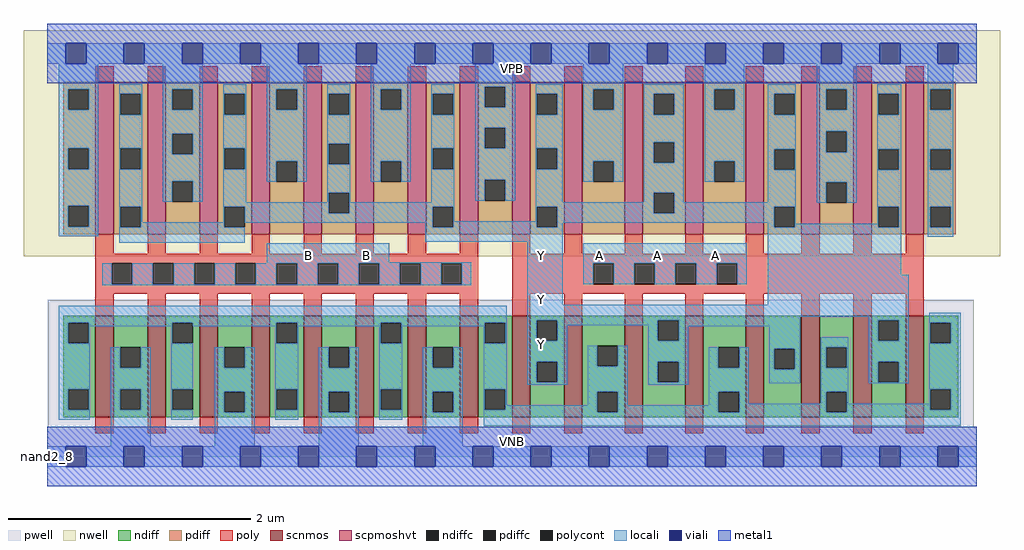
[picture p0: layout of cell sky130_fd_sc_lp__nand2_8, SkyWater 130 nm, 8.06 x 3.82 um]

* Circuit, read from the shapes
.subckt sky130_fd_sc_lp__nand2_8 A B VGND VNB VPB VPWR Y
XM1 VGND B n1 VNB sky130_fd_pr__nfet_01v8 w=0.84 l=0.15 m=8
XM2 Y A n1 VNB sky130_fd_pr__nfet_01v8 w=0.84 l=0.15 m=8
XM3 Y B VPWR VPB sky130_fd_pr__pfet_01v8_hvt w=1.26 l=0.15 m=8
XM4 Y A VPWR VPB sky130_fd_pr__pfet_01v8_hvt w=1.26 l=0.15 m=8
.ends

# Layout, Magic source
magic
tech sky130A
magscale 1 2
<< nwell >>
rect -38 331 1574 704
<< pwell >>
rect 1 49 1531 259
rect 0 0 1536 49
<< scnmos >>
rect 80 65 110 233
rect 166 65 196 233
rect 252 65 282 233
rect 338 65 368 233
rect 424 65 454 233
rect 510 65 540 233
rect 596 65 626 233
rect 682 65 712 233
rect 768 65 798 233
rect 854 65 884 233
rect 954 65 984 233
rect 1054 65 1084 233
rect 1154 65 1184 233
rect 1246 65 1276 233
rect 1332 65 1362 233
rect 1418 65 1448 233
<< scpmoshvt >>
rect 80 367 110 619
rect 166 367 196 619
rect 252 367 282 619
rect 338 367 368 619
rect 424 367 454 619
rect 510 367 540 619
rect 596 367 626 619
rect 682 367 712 619
rect 768 367 798 619
rect 854 367 884 619
rect 954 367 984 619
rect 1054 367 1084 619
rect 1154 367 1184 619
rect 1246 367 1276 619
rect 1332 367 1362 619
rect 1418 367 1448 619
<< ndiff >>
rect 27 221 80 233
rect 27 187 35 221
rect 69 187 80 221
rect 27 111 80 187
rect 27 77 35 111
rect 69 77 80 111
rect 27 65 80 77
rect 110 181 166 233
rect 110 147 121 181
rect 155 147 166 181
rect 110 111 166 147
rect 110 77 121 111
rect 155 77 166 111
rect 110 65 166 77
rect 196 221 252 233
rect 196 187 207 221
rect 241 187 252 221
rect 196 111 252 187
rect 196 77 207 111
rect 241 77 252 111
rect 196 65 252 77
rect 282 181 338 233
rect 282 147 293 181
rect 327 147 338 181
rect 282 107 338 147
rect 282 73 293 107
rect 327 73 338 107
rect 282 65 338 73
rect 368 221 424 233
rect 368 187 379 221
rect 413 187 424 221
rect 368 111 424 187
rect 368 77 379 111
rect 413 77 424 111
rect 368 65 424 77
rect 454 181 510 233
rect 454 147 465 181
rect 499 147 510 181
rect 454 107 510 147
rect 454 73 465 107
rect 499 73 510 107
rect 454 65 510 73
rect 540 221 596 233
rect 540 187 551 221
rect 585 187 596 221
rect 540 111 596 187
rect 540 77 551 111
rect 585 77 596 111
rect 540 65 596 77
rect 626 181 682 233
rect 626 147 637 181
rect 671 147 682 181
rect 626 107 682 147
rect 626 73 637 107
rect 671 73 682 107
rect 626 65 682 73
rect 712 221 768 233
rect 712 187 723 221
rect 757 187 768 221
rect 712 111 768 187
rect 712 77 723 111
rect 757 77 768 111
rect 712 65 768 77
rect 798 225 854 233
rect 798 191 809 225
rect 843 191 854 225
rect 798 157 854 191
rect 798 123 809 157
rect 843 123 854 157
rect 798 65 854 123
rect 884 183 954 233
rect 884 149 909 183
rect 943 149 954 183
rect 884 107 954 149
rect 884 73 909 107
rect 943 73 954 107
rect 884 65 954 73
rect 984 225 1054 233
rect 984 191 1009 225
rect 1043 191 1054 225
rect 984 157 1054 191
rect 984 123 1009 157
rect 1043 123 1054 157
rect 984 65 1054 123
rect 1084 181 1154 233
rect 1084 147 1109 181
rect 1143 147 1154 181
rect 1084 107 1154 147
rect 1084 73 1109 107
rect 1143 73 1154 107
rect 1084 65 1154 73
rect 1184 178 1246 233
rect 1184 144 1201 178
rect 1235 144 1246 178
rect 1184 65 1246 144
rect 1276 181 1332 233
rect 1276 147 1287 181
rect 1321 147 1332 181
rect 1276 107 1332 147
rect 1276 73 1287 107
rect 1321 73 1332 107
rect 1276 65 1332 73
rect 1362 225 1418 233
rect 1362 191 1373 225
rect 1407 191 1418 225
rect 1362 157 1418 191
rect 1362 123 1373 157
rect 1407 123 1418 157
rect 1362 65 1418 123
rect 1448 221 1505 233
rect 1448 187 1459 221
rect 1493 187 1505 221
rect 1448 111 1505 187
rect 1448 77 1459 111
rect 1493 77 1505 111
rect 1448 65 1505 77
<< pdiff >>
rect 27 607 80 619
rect 27 573 35 607
rect 69 573 80 607
rect 27 509 80 573
rect 27 475 35 509
rect 69 475 80 509
rect 27 414 80 475
rect 27 380 35 414
rect 69 380 80 414
rect 27 367 80 380
rect 110 599 166 619
rect 110 565 121 599
rect 155 565 166 599
rect 110 509 166 565
rect 110 475 121 509
rect 155 475 166 509
rect 110 413 166 475
rect 110 379 121 413
rect 155 379 166 413
rect 110 367 166 379
rect 196 607 252 619
rect 196 573 207 607
rect 241 573 252 607
rect 196 533 252 573
rect 196 499 207 533
rect 241 499 252 533
rect 196 455 252 499
rect 196 421 207 455
rect 241 421 252 455
rect 196 367 252 421
rect 282 599 338 619
rect 282 565 293 599
rect 327 565 338 599
rect 282 509 338 565
rect 282 475 293 509
rect 327 475 338 509
rect 282 413 338 475
rect 282 379 293 413
rect 327 379 338 413
rect 282 367 338 379
rect 368 607 424 619
rect 368 573 379 607
rect 413 573 424 607
rect 368 488 424 573
rect 368 454 379 488
rect 413 454 424 488
rect 368 367 424 454
rect 454 599 510 619
rect 454 565 465 599
rect 499 565 510 599
rect 454 517 510 565
rect 454 483 465 517
rect 499 483 510 517
rect 454 436 510 483
rect 454 402 465 436
rect 499 402 510 436
rect 454 367 510 402
rect 540 607 596 619
rect 540 573 551 607
rect 585 573 596 607
rect 540 488 596 573
rect 540 454 551 488
rect 585 454 596 488
rect 540 367 596 454
rect 626 599 682 619
rect 626 565 637 599
rect 671 565 682 599
rect 626 509 682 565
rect 626 475 637 509
rect 671 475 682 509
rect 626 413 682 475
rect 626 379 637 413
rect 671 379 682 413
rect 626 367 682 379
rect 712 611 768 619
rect 712 577 723 611
rect 757 577 768 611
rect 712 543 768 577
rect 712 509 723 543
rect 757 509 768 543
rect 712 457 768 509
rect 712 423 723 457
rect 757 423 768 457
rect 712 367 768 423
rect 798 599 854 619
rect 798 565 809 599
rect 843 565 854 599
rect 798 509 854 565
rect 798 475 809 509
rect 843 475 854 509
rect 798 413 854 475
rect 798 379 809 413
rect 843 379 854 413
rect 798 367 854 379
rect 884 607 954 619
rect 884 573 902 607
rect 936 573 954 607
rect 884 488 954 573
rect 884 454 902 488
rect 936 454 954 488
rect 884 367 954 454
rect 984 599 1054 619
rect 984 565 1002 599
rect 1036 565 1054 599
rect 984 519 1054 565
rect 984 485 1002 519
rect 1036 485 1054 519
rect 984 436 1054 485
rect 984 402 1002 436
rect 1036 402 1054 436
rect 984 367 1054 402
rect 1084 607 1154 619
rect 1084 573 1102 607
rect 1136 573 1154 607
rect 1084 488 1154 573
rect 1084 454 1102 488
rect 1136 454 1154 488
rect 1084 367 1154 454
rect 1184 599 1246 619
rect 1184 565 1201 599
rect 1235 565 1246 599
rect 1184 508 1246 565
rect 1184 474 1201 508
rect 1235 474 1246 508
rect 1184 413 1246 474
rect 1184 379 1201 413
rect 1235 379 1246 413
rect 1184 367 1246 379
rect 1276 607 1332 619
rect 1276 573 1287 607
rect 1321 573 1332 607
rect 1276 537 1332 573
rect 1276 503 1287 537
rect 1321 503 1332 537
rect 1276 453 1332 503
rect 1276 419 1287 453
rect 1321 419 1332 453
rect 1276 367 1332 419
rect 1362 599 1418 619
rect 1362 565 1373 599
rect 1407 565 1418 599
rect 1362 508 1418 565
rect 1362 474 1373 508
rect 1407 474 1418 508
rect 1362 413 1418 474
rect 1362 379 1373 413
rect 1407 379 1418 413
rect 1362 367 1418 379
rect 1448 607 1501 619
rect 1448 573 1459 607
rect 1493 573 1501 607
rect 1448 508 1501 573
rect 1448 474 1459 508
rect 1493 474 1501 508
rect 1448 413 1501 474
rect 1448 379 1459 413
rect 1493 379 1501 413
rect 1448 367 1501 379
<< ndiffc >>
rect 35 187 69 221
rect 35 77 69 111
rect 121 147 155 181
rect 121 77 155 111
rect 207 187 241 221
rect 207 77 241 111
rect 293 147 327 181
rect 293 73 327 107
rect 379 187 413 221
rect 379 77 413 111
rect 465 147 499 181
rect 465 73 499 107
rect 551 187 585 221
rect 551 77 585 111
rect 637 147 671 181
rect 637 73 671 107
rect 723 187 757 221
rect 723 77 757 111
rect 809 191 843 225
rect 809 123 843 157
rect 909 149 943 183
rect 909 73 943 107
rect 1009 191 1043 225
rect 1009 123 1043 157
rect 1109 147 1143 181
rect 1109 73 1143 107
rect 1201 144 1235 178
rect 1287 147 1321 181
rect 1287 73 1321 107
rect 1373 191 1407 225
rect 1373 123 1407 157
rect 1459 187 1493 221
rect 1459 77 1493 111
<< pdiffc >>
rect 35 573 69 607
rect 35 475 69 509
rect 35 380 69 414
rect 121 565 155 599
rect 121 475 155 509
rect 121 379 155 413
rect 207 573 241 607
rect 207 499 241 533
rect 207 421 241 455
rect 293 565 327 599
rect 293 475 327 509
rect 293 379 327 413
rect 379 573 413 607
rect 379 454 413 488
rect 465 565 499 599
rect 465 483 499 517
rect 465 402 499 436
rect 551 573 585 607
rect 551 454 585 488
rect 637 565 671 599
rect 637 475 671 509
rect 637 379 671 413
rect 723 577 757 611
rect 723 509 757 543
rect 723 423 757 457
rect 809 565 843 599
rect 809 475 843 509
rect 809 379 843 413
rect 902 573 936 607
rect 902 454 936 488
rect 1002 565 1036 599
rect 1002 485 1036 519
rect 1002 402 1036 436
rect 1102 573 1136 607
rect 1102 454 1136 488
rect 1201 565 1235 599
rect 1201 474 1235 508
rect 1201 379 1235 413
rect 1287 573 1321 607
rect 1287 503 1321 537
rect 1287 419 1321 453
rect 1373 565 1407 599
rect 1373 474 1407 508
rect 1373 379 1407 413
rect 1459 573 1493 607
rect 1459 474 1493 508
rect 1459 379 1493 413
<< poly >>
rect 80 619 110 645
rect 166 619 196 645
rect 252 619 282 645
rect 338 619 368 645
rect 424 619 454 645
rect 510 619 540 645
rect 596 619 626 645
rect 682 619 712 645
rect 768 619 798 645
rect 854 619 884 645
rect 954 619 984 645
rect 1054 619 1084 645
rect 1154 619 1184 645
rect 1246 619 1276 645
rect 1332 619 1362 645
rect 1418 619 1448 645
rect 80 335 110 367
rect 166 335 196 367
rect 252 335 282 367
rect 338 335 368 367
rect 424 335 454 367
rect 510 335 540 367
rect 596 335 626 367
rect 682 335 712 367
rect 80 319 712 335
rect 80 285 107 319
rect 141 285 175 319
rect 209 285 243 319
rect 277 285 311 319
rect 345 285 379 319
rect 413 285 447 319
rect 481 285 515 319
rect 549 285 583 319
rect 617 285 651 319
rect 685 285 712 319
rect 80 269 712 285
rect 80 233 110 269
rect 166 233 196 269
rect 252 233 282 269
rect 338 233 368 269
rect 424 233 454 269
rect 510 233 540 269
rect 596 233 626 269
rect 682 233 712 269
rect 768 335 798 367
rect 854 335 884 367
rect 954 335 984 367
rect 1054 335 1084 367
rect 1154 335 1184 367
rect 1246 335 1276 367
rect 1332 335 1362 367
rect 1418 335 1448 367
rect 768 319 1448 335
rect 768 285 902 319
rect 936 285 970 319
rect 1004 285 1038 319
rect 1072 285 1106 319
rect 1140 285 1448 319
rect 768 269 1448 285
rect 768 233 798 269
rect 854 233 884 269
rect 954 233 984 269
rect 1054 233 1084 269
rect 1154 233 1184 269
rect 1246 233 1276 269
rect 1332 233 1362 269
rect 1418 233 1448 269
rect 80 39 110 65
rect 166 39 196 65
rect 252 39 282 65
rect 338 39 368 65
rect 424 39 454 65
rect 510 39 540 65
rect 596 39 626 65
rect 682 39 712 65
rect 768 39 798 65
rect 854 39 884 65
rect 954 39 984 65
rect 1054 39 1084 65
rect 1154 39 1184 65
rect 1246 39 1276 65
rect 1332 39 1362 65
rect 1418 39 1448 65
<< polycont >>
rect 107 285 141 319
rect 175 285 209 319
rect 243 285 277 319
rect 311 285 345 319
rect 379 285 413 319
rect 447 285 481 319
rect 515 285 549 319
rect 583 285 617 319
rect 651 285 685 319
rect 902 285 936 319
rect 970 285 1004 319
rect 1038 285 1072 319
rect 1106 285 1140 319
<< locali >>
rect 0 649 31 683
rect 65 649 127 683
rect 161 649 223 683
rect 257 649 319 683
rect 353 649 415 683
rect 449 649 511 683
rect 545 649 607 683
rect 641 649 703 683
rect 737 649 799 683
rect 833 649 895 683
rect 929 649 991 683
rect 1025 649 1087 683
rect 1121 649 1183 683
rect 1217 649 1279 683
rect 1313 649 1375 683
rect 1409 649 1471 683
rect 1505 649 1536 683
rect 19 607 85 649
rect 19 573 35 607
rect 69 573 85 607
rect 19 509 85 573
rect 19 475 35 509
rect 69 475 85 509
rect 19 414 85 475
rect 19 380 35 414
rect 69 380 85 414
rect 19 364 85 380
rect 119 599 157 615
rect 119 565 121 599
rect 155 565 157 599
rect 119 509 157 565
rect 119 475 121 509
rect 155 475 157 509
rect 119 413 157 475
rect 191 607 257 649
rect 191 573 207 607
rect 241 573 257 607
rect 191 533 257 573
rect 191 499 207 533
rect 241 499 257 533
rect 191 455 257 499
rect 191 421 207 455
rect 241 421 257 455
rect 291 599 329 615
rect 291 565 293 599
rect 327 565 329 599
rect 291 509 329 565
rect 291 475 293 509
rect 327 475 329 509
rect 119 379 121 413
rect 155 387 157 413
rect 291 420 329 475
rect 363 607 429 649
rect 363 573 379 607
rect 413 573 429 607
rect 363 488 429 573
rect 363 454 379 488
rect 413 454 429 488
rect 463 599 501 615
rect 463 565 465 599
rect 499 565 501 599
rect 463 517 501 565
rect 463 483 465 517
rect 499 483 501 517
rect 463 436 501 483
rect 535 607 601 649
rect 535 573 551 607
rect 585 573 601 607
rect 535 488 601 573
rect 535 454 551 488
rect 585 454 601 488
rect 635 599 673 615
rect 635 565 637 599
rect 671 565 673 599
rect 635 509 673 565
rect 635 475 637 509
rect 671 475 673 509
rect 463 420 465 436
rect 291 413 465 420
rect 291 387 293 413
rect 155 379 293 387
rect 327 402 465 413
rect 499 420 501 436
rect 635 420 673 475
rect 707 611 773 649
rect 707 577 723 611
rect 757 577 773 611
rect 707 543 773 577
rect 707 509 723 543
rect 757 509 773 543
rect 707 457 773 509
rect 707 423 723 457
rect 757 423 773 457
rect 807 599 852 615
rect 807 565 809 599
rect 843 565 852 599
rect 807 509 852 565
rect 807 475 809 509
rect 843 475 852 509
rect 499 413 673 420
rect 499 402 637 413
rect 327 386 637 402
rect 119 353 327 379
rect 625 379 637 386
rect 671 389 673 413
rect 807 420 852 475
rect 886 607 952 649
rect 886 573 902 607
rect 936 573 952 607
rect 886 488 952 573
rect 886 454 902 488
rect 936 454 952 488
rect 986 599 1052 615
rect 986 565 1002 599
rect 1036 565 1052 599
rect 986 519 1052 565
rect 986 485 1002 519
rect 1036 485 1052 519
rect 986 436 1052 485
rect 1086 607 1152 649
rect 1086 573 1102 607
rect 1136 573 1152 607
rect 1086 488 1152 573
rect 1086 454 1102 488
rect 1136 454 1152 488
rect 1190 599 1237 615
rect 1190 565 1201 599
rect 1235 565 1237 599
rect 1190 508 1237 565
rect 1190 474 1201 508
rect 1235 474 1237 508
rect 986 420 1002 436
rect 807 413 1002 420
rect 807 389 809 413
rect 671 379 809 389
rect 843 402 1002 413
rect 1036 420 1052 436
rect 1190 420 1237 474
rect 1036 413 1237 420
rect 1271 607 1337 649
rect 1271 573 1287 607
rect 1321 573 1337 607
rect 1271 537 1337 573
rect 1271 503 1287 537
rect 1321 503 1337 537
rect 1271 453 1337 503
rect 1271 419 1287 453
rect 1321 419 1337 453
rect 1371 599 1411 615
rect 1371 565 1373 599
rect 1407 565 1411 599
rect 1371 508 1411 565
rect 1371 474 1373 508
rect 1407 474 1411 508
rect 1036 402 1201 413
rect 843 386 1201 402
rect 843 379 852 386
rect 625 355 852 379
rect 363 321 565 352
rect 363 319 701 321
rect 91 285 107 319
rect 141 285 175 319
rect 209 285 243 319
rect 277 285 311 319
rect 345 285 379 319
rect 413 285 447 319
rect 481 285 515 319
rect 549 285 583 319
rect 617 285 651 319
rect 685 285 701 319
rect 91 283 701 285
rect 793 251 852 355
rect 1190 379 1201 386
rect 1235 385 1237 413
rect 1371 413 1411 474
rect 1371 385 1373 413
rect 1235 379 1373 385
rect 1407 379 1411 413
rect 886 319 1156 352
rect 886 285 902 319
rect 936 285 970 319
rect 1004 285 1038 319
rect 1072 285 1106 319
rect 1140 285 1156 319
rect 1190 300 1411 379
rect 1455 607 1497 649
rect 1455 573 1459 607
rect 1493 573 1497 607
rect 1455 508 1497 573
rect 1455 474 1459 508
rect 1493 474 1497 508
rect 1455 413 1497 474
rect 1455 379 1459 413
rect 1493 379 1497 413
rect 1455 363 1497 379
rect 1190 251 1423 300
rect 19 221 759 249
rect 19 187 35 221
rect 69 215 207 221
rect 69 187 71 215
rect 19 111 71 187
rect 205 187 207 215
rect 241 215 379 221
rect 19 77 35 111
rect 69 77 71 111
rect 19 61 71 77
rect 105 147 121 181
rect 155 147 171 181
rect 105 111 171 147
rect 105 77 121 111
rect 155 77 171 111
rect 105 17 171 77
rect 205 111 241 187
rect 377 187 379 215
rect 413 215 551 221
rect 413 187 415 215
rect 205 77 207 111
rect 205 61 241 77
rect 277 147 293 181
rect 327 147 343 181
rect 277 107 343 147
rect 277 73 293 107
rect 327 73 343 107
rect 277 17 343 73
rect 377 111 415 187
rect 549 187 551 215
rect 585 215 723 221
rect 585 187 587 215
rect 377 77 379 111
rect 413 77 415 111
rect 377 61 415 77
rect 449 147 465 181
rect 499 147 515 181
rect 449 107 515 147
rect 449 73 465 107
rect 499 73 515 107
rect 449 17 515 73
rect 549 111 587 187
rect 721 187 723 215
rect 757 187 759 221
rect 549 77 551 111
rect 585 77 587 111
rect 549 61 587 77
rect 621 147 637 181
rect 671 147 687 181
rect 621 107 687 147
rect 621 73 637 107
rect 671 73 687 107
rect 621 17 687 73
rect 721 111 759 187
rect 793 231 1423 251
rect 793 225 1244 231
rect 793 191 809 225
rect 843 217 1009 225
rect 843 191 859 217
rect 793 157 859 191
rect 993 191 1009 217
rect 1043 215 1244 225
rect 1043 191 1059 215
rect 793 123 809 157
rect 843 123 859 157
rect 793 119 859 123
rect 893 149 909 183
rect 943 149 959 183
rect 721 77 723 111
rect 757 85 759 111
rect 893 107 959 149
rect 993 157 1059 191
rect 993 123 1009 157
rect 1043 123 1059 157
rect 993 119 1059 123
rect 1093 147 1109 181
rect 1143 147 1159 181
rect 893 85 909 107
rect 757 77 909 85
rect 721 73 909 77
rect 943 85 959 107
rect 1093 107 1159 147
rect 1193 178 1244 215
rect 1357 225 1423 231
rect 1193 144 1201 178
rect 1235 144 1244 178
rect 1193 121 1244 144
rect 1278 181 1323 197
rect 1278 147 1287 181
rect 1321 147 1323 181
rect 1093 85 1109 107
rect 943 73 1109 85
rect 1143 87 1159 107
rect 1278 107 1323 147
rect 1357 191 1373 225
rect 1407 191 1423 225
rect 1357 157 1423 191
rect 1357 123 1373 157
rect 1407 123 1423 157
rect 1357 121 1423 123
rect 1457 221 1509 238
rect 1457 187 1459 221
rect 1493 187 1509 221
rect 1278 87 1287 107
rect 1143 73 1287 87
rect 1321 87 1323 107
rect 1457 111 1509 187
rect 1457 87 1459 111
rect 1321 77 1459 87
rect 1493 77 1509 111
rect 1321 73 1509 77
rect 721 51 1509 73
rect 0 -17 31 17
rect 65 -17 127 17
rect 161 -17 223 17
rect 257 -17 319 17
rect 353 -17 415 17
rect 449 -17 511 17
rect 545 -17 607 17
rect 641 -17 703 17
rect 737 -17 799 17
rect 833 -17 895 17
rect 929 -17 991 17
rect 1025 -17 1087 17
rect 1121 -17 1183 17
rect 1217 -17 1279 17
rect 1313 -17 1375 17
rect 1409 -17 1471 17
rect 1505 -17 1536 17
<< viali >>
rect 31 649 65 683
rect 127 649 161 683
rect 223 649 257 683
rect 319 649 353 683
rect 415 649 449 683
rect 511 649 545 683
rect 607 649 641 683
rect 703 649 737 683
rect 799 649 833 683
rect 895 649 929 683
rect 991 649 1025 683
rect 1087 649 1121 683
rect 1183 649 1217 683
rect 1279 649 1313 683
rect 1375 649 1409 683
rect 1471 649 1505 683
rect 31 -17 65 17
rect 127 -17 161 17
rect 223 -17 257 17
rect 319 -17 353 17
rect 415 -17 449 17
rect 511 -17 545 17
rect 607 -17 641 17
rect 703 -17 737 17
rect 799 -17 833 17
rect 895 -17 929 17
rect 991 -17 1025 17
rect 1087 -17 1121 17
rect 1183 -17 1217 17
rect 1279 -17 1313 17
rect 1375 -17 1409 17
rect 1471 -17 1505 17
<< metal1 >>
rect 0 683 1536 715
rect 0 649 31 683
rect 65 649 127 683
rect 161 649 223 683
rect 257 649 319 683
rect 353 649 415 683
rect 449 649 511 683
rect 545 649 607 683
rect 641 649 703 683
rect 737 649 799 683
rect 833 649 895 683
rect 929 649 991 683
rect 1025 649 1087 683
rect 1121 649 1183 683
rect 1217 649 1279 683
rect 1313 649 1375 683
rect 1409 649 1471 683
rect 1505 649 1536 683
rect 0 617 1536 649
rect 0 17 1536 49
rect 0 -17 31 17
rect 65 -17 127 17
rect 161 -17 223 17
rect 257 -17 319 17
rect 353 -17 415 17
rect 449 -17 511 17
rect 545 -17 607 17
rect 641 -17 703 17
rect 737 -17 799 17
rect 833 -17 895 17
rect 929 -17 991 17
rect 1025 -17 1087 17
rect 1121 -17 1183 17
rect 1217 -17 1279 17
rect 1313 -17 1375 17
rect 1409 -17 1471 17
rect 1505 -17 1536 17
rect 0 -49 1536 -17
<< labels >>
flabel pwell s 0 0 1536 49 0 FreeSans 200 0 0 0 VNB
port 4 nsew ground bidirectional
flabel nwell s 0 617 1536 666 0 FreeSans 200 0 0 0 VPB
port 5 nsew power bidirectional
rlabel comment s 0 0 0 0 4 nand2_8
flabel metal1 s 0 617 1536 666 0 FreeSans 340 0 0 0 VPWR
port 6 nsew power bidirectional
flabel metal1 s 0 0 1536 49 0 FreeSans 340 0 0 0 VGND
port 3 nsew ground bidirectional
flabel locali s 895 316 929 350 0 FreeSans 340 0 0 0 A
port 1 nsew signal input
flabel locali s 991 316 1025 350 0 FreeSans 340 0 0 0 A
port 1 nsew signal input
flabel locali s 1087 316 1121 350 0 FreeSans 340 0 0 0 A
port 1 nsew signal input
flabel locali s 415 316 449 350 0 FreeSans 340 0 0 0 B
port 2 nsew signal input
flabel locali s 511 316 545 350 0 FreeSans 340 0 0 0 B
port 2 nsew signal input
flabel locali s 799 168 833 202 0 FreeSans 340 0 0 0 Y
port 7 nsew signal output
flabel locali s 799 242 833 276 0 FreeSans 340 0 0 0 Y
port 7 nsew signal output
flabel locali s 799 316 833 350 0 FreeSans 340 0 0 0 Y
port 7 nsew signal output
<< properties >>
string LEFsite unit
string LEFclass CORE
string FIXED_BBOX 0 0 1536 666
string GDS_FILE $PDKPATH/libs.ref/sky130_fd_sc_lp/gds/sky130_fd_sc_lp.gds
string LEFsymmetry X Y R90
string GDS_END 5807526
string GDS_START 5794664
<< end >>
